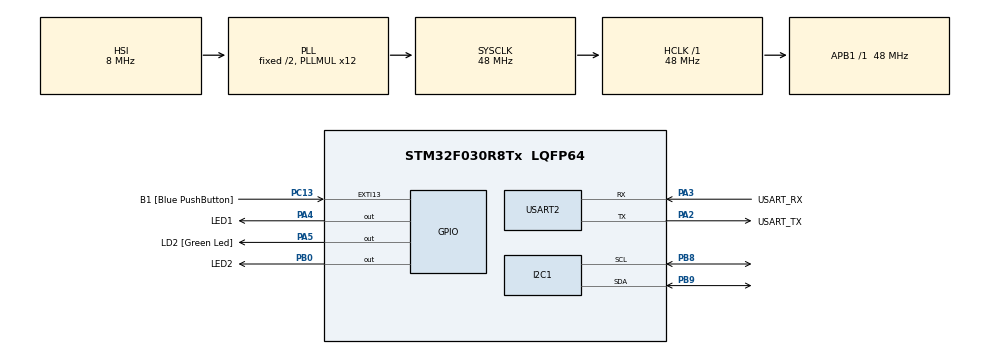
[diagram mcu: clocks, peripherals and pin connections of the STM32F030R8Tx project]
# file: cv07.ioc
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FREERTOS.Queues01=xVisualQueue,16,uint16_t,0,Dynamic,NULL,NULL
FREERTOS.Tasks01=defaultTask,0,128,StartDefaultTask,Default,NULL,Dynamic,NULL,NULL;VisualTask,0,128,StartVisualTask,Default,NULL,Dynamic,NULL,NULL;AcceleroTask,0,128,StartAcceleroTask,Default,NULL,Dynamic,NULL,NULL
FREERTOS.configUSE_NEWLIB_REENTRANT=1
Mcu.Family=STM32F0
Mcu.Name=STM32F030R8Tx
Mcu.Package=LQFP64
NVIC.TIM14_IRQn=true\:3\:0\:false\:false\:true\:false\:false\:true\:true
NVIC.TimeBase=TIM14_IRQn
NVIC.TimeBaseIP=TIM14
PA13.GPIO_Label=TMS
PA13.Mode=Serial_Wire
PA13.Signal=SYS_SWDIO
PA14.GPIO_Label=TCK
PA14.Mode=Serial_Wire
PA14.Signal=SYS_SWCLK
PA2.GPIO_Label=USART_TX
PA2.GPIO_Mode=GPIO_MODE_AF_PP
PA2.GPIO_PuPd=GPIO_NOPULL
PA2.GPIO_Speed=GPIO_SPEED_FREQ_LOW
PA2.Mode=Asynchronous
PA2.Signal=USART2_TX
PA3.GPIO_Label=USART_RX
PA3.GPIO_Mode=GPIO_MODE_AF_PP
PA3.GPIO_PuPd=GPIO_NOPULL
PA3.GPIO_Speed=GPIO_SPEED_FREQ_LOW
PA3.Mode=Asynchronous
PA3.Signal=USART2_RX
PA4.GPIO_Label=LED1
PA4.Signal=GPIO_Output
PA5.GPIO_Label=LD2 [Green Led]
PA5.GPIO_Mode=GPIO_MODE_OUTPUT_PP
PA5.GPIO_PuPd=GPIO_NOPULL
PA5.GPIO_Speed=GPIO_SPEED_FREQ_LOW
PA5.Signal=GPIO_Output
PB0.GPIO_Label=LED2
PB0.Signal=GPIO_Output
PB8.Mode=I2C
PB8.Signal=I2C1_SCL
PB9.Mode=I2C
PB9.Signal=I2C1_SDA
PC13.GPIO_Label=B1 [Blue PushButton]
PC13.GPIO_ModeDefaultEXTI=GPIO_MODE_IT_FALLING
PC13.Signal=GPXTI13
PC14-OSC32_IN.Mode=LSE-External-Oscillator
PC14-OSC32_IN.Signal=RCC_OSC32_IN
PC15-OSC32_OUT.Mode=LSE-External-Oscillator
PC15-OSC32_OUT.Signal=RCC_OSC32_OUT
PF0-OSC_IN.Mode=HSE-External-Clock-Source
PF0-OSC_IN.Signal=RCC_OSC_IN
PF1-OSC_OUT.Signal=RCC_OSC_OUT
ProjectManager.HeapSize=0x200
ProjectManager.StackSize=0x400
ProjectManager.TargetToolchain=STM32CubeIDE
RCC.AHBFreq_Value=48000000
RCC.APB1Freq_Value=48000000
RCC.APB1TimFreq_Value=48000000
RCC.HCLKFreq_Value=48000000
RCC.PLLMUL=RCC_PLL_MUL12
RCC.SYSCLKFreq_VALUE=48000000
RCC.SYSCLKSource=RCC_SYSCLKSOURCE_PLLCLK
USART2.VirtualMode-Asynchronous=VM_ASYNC
VP_FREERTOS_VS_CMSIS_V1.Mode=CMSIS_V1
VP_SYS_VS_tim14.Mode=TIM14
board=NUCLEO-F030R8

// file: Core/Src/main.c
/* USER CODE BEGIN Header */
/**
  ******************************************************************************
  * @file           : main.c
  * @brief          : Main program body
  ******************************************************************************
  * @attention
  *
  * Copyright (c) 2022 STMicroelectronics.
  * All rights reserved.
  *
  * This software is licensed under terms that can be found in the LICENSE file
  * in the root directory of this software component.
  * If no LICENSE file comes with this software, it is provided AS-IS.
  *
  ******************************************************************************
  */
/* USER CODE END Header */
#include "main.h"
#include "cmsis_os.h"

/* USER CODE BEGIN Includes */
#include "lis2dw12_reg.h"
#include <stdio.h>
/* USER CODE END Includes */

I2C_HandleTypeDef hi2c1;

UART_HandleTypeDef huart2;

osThreadId defaultTaskHandle;
osThreadId VisualTaskHandle;
osThreadId AcceleroTaskHandle;
osMessageQId xVisualQueueHandle;

void SystemClock_Config(void);
static void MX_GPIO_Init(void);
static void MX_USART2_UART_Init(void);
static void MX_I2C1_Init(void);
void StartDefaultTask(void const * argument);
void StartVisualTask(void const * argument);
void StartAcceleroTask(void const * argument);

/* USER CODE BEGIN 0 */

static int32_t platform_write(void *handle, uint8_t reg, uint8_t *bufp, uint16_t len);
static int32_t platform_read(void *handle, uint8_t reg, uint8_t *bufp, uint16_t len);
static stmdev_ctx_t lis2dw12 = {
		.write_reg = platform_write,
		.read_reg = platform_read,
		.handle = &hi2c1,
};

/*
* Replace the functions "platform_write" and "platform_read" with your
* platform specific read and write function.
*/
static int32_t platform_write(void *handle, uint8_t reg, uint8_t *bufp, uint16_t len)
{
	HAL_I2C_Mem_Write(handle, LIS2DW12_I2C_ADD_H, reg, I2C_MEMADD_SIZE_8BIT, bufp, len, 1000);
	return 0;
}

static int32_t platform_read(void *handle, uint8_t reg, uint8_t *bufp, uint16_t len)
{
	HAL_I2C_Mem_Read(handle, LIS2DW12_I2C_ADD_H, reg, I2C_MEMADD_SIZE_8BIT, bufp, len, 1000);
	return 0;
}

int _write(int file, char const *buf, int n)
{
	/* stdout redirection to UART2 */
	HAL_UART_Transmit(&huart2, (uint8_t*)(buf), n, HAL_MAX_DELAY);
	return n;
}

/* USER CODE END 0 */

int main(void)
{

  /* MCU Configuration--------------------------------------------------------*/

  /* Reset of all peripherals, Initializes the Flash interface and the Systick. */
  HAL_Init();

  /* Configure the system clock */
  SystemClock_Config();

  /* Initialize all configured peripherals */
  MX_GPIO_Init();
  MX_USART2_UART_Init();
  MX_I2C1_Init();

  /* Create the queue(s) */
  /* definition and creation of xVisualQueue */
  osMessageQDef(xVisualQueue, 16, uint16_t);
  xVisualQueueHandle = osMessageCreate(osMessageQ(xVisualQueue), NULL);

  /* Create the thread(s) */
  /* definition and creation of defaultTask */
  osThreadDef(defaultTask, StartDefaultTask, osPriorityNormal, 0, 128);
  defaultTaskHandle = osThreadCreate(osThread(defaultTask), NULL);

  /* definition and creation of VisualTask */
  osThreadDef(VisualTask, StartVisualTask, osPriorityNormal, 0, 128);
  VisualTaskHandle = osThreadCreate(osThread(VisualTask), NULL);

  /* definition and creation of AcceleroTask */
  osThreadDef(AcceleroTask, StartAcceleroTask, osPriorityNormal, 0, 128);
  AcceleroTaskHandle = osThreadCreate(osThread(AcceleroTask), NULL);

  /* Start scheduler */
  osKernelStart();

  /* We should never get here as control is now taken by the scheduler */
  /* Infinite loop */
  while (1)
  {

  }
}

void SystemClock_Config(void)
{
  RCC_OscInitTypeDef RCC_OscInitStruct = {0};
  RCC_ClkInitTypeDef RCC_ClkInitStruct = {0};
  RCC_PeriphCLKInitTypeDef PeriphClkInit = {0};

  /** Initializes the RCC Oscillators according to the specified parameters
  * in the RCC_OscInitTypeDef structure.
  */
  RCC_OscInitStruct.OscillatorType = RCC_OSCILLATORTYPE_HSI;
  RCC_OscInitStruct.HSIState = RCC_HSI_ON;
  RCC_OscInitStruct.HSICalibrationValue = RCC_HSICALIBRATION_DEFAULT;
  RCC_OscInitStruct.PLL.PLLState = RCC_PLL_ON;
  RCC_OscInitStruct.PLL.PLLSource = RCC_PLLSOURCE_HSI;
  RCC_OscInitStruct.PLL.PLLMUL = RCC_PLL_MUL12;
  RCC_OscInitStruct.PLL.PREDIV = RCC_PREDIV_DIV1;
  if (HAL_RCC_OscConfig(&RCC_OscInitStruct) != HAL_OK)
  {
    Error_Handler();
  }

  /** Initializes the CPU, AHB and APB buses clocks
  */
  RCC_ClkInitStruct.ClockType = RCC_CLOCKTYPE_HCLK|RCC_CLOCKTYPE_SYSCLK
                              |RCC_CLOCKTYPE_PCLK1;
  RCC_ClkInitStruct.SYSCLKSource = RCC_SYSCLKSOURCE_PLLCLK;
  RCC_ClkInitStruct.AHBCLKDivider = RCC_SYSCLK_DIV1;
  RCC_ClkInitStruct.APB1CLKDivider = RCC_HCLK_DIV1;

  if (HAL_RCC_ClockConfig(&RCC_ClkInitStruct, FLASH_LATENCY_1) != HAL_OK)
  {
    Error_Handler();
  }
  PeriphClkInit.PeriphClockSelection = RCC_PERIPHCLK_I2C1;
  PeriphClkInit.I2c1ClockSelection = RCC_I2C1CLKSOURCE_HSI;
  if (HAL_RCCEx_PeriphCLKConfig(&PeriphClkInit) != HAL_OK)
  {
    Error_Handler();
  }
}

static void MX_I2C1_Init(void)
{

  hi2c1.Instance = I2C1;
  hi2c1.Init.Timing = 0x2000090E;
  hi2c1.Init.OwnAddress1 = 0;
  hi2c1.Init.AddressingMode = I2C_ADDRESSINGMODE_7BIT;
  hi2c1.Init.DualAddressMode = I2C_DUALADDRESS_DISABLE;
  hi2c1.Init.OwnAddress2 = 0;
  hi2c1.Init.OwnAddress2Masks = I2C_OA2_NOMASK;
  hi2c1.Init.GeneralCallMode = I2C_GENERALCALL_DISABLE;
  hi2c1.Init.NoStretchMode = I2C_NOSTRETCH_DISABLE;
  if (HAL_I2C_Init(&hi2c1) != HAL_OK)
  {
    Error_Handler();
  }

  /** Configure Analogue filter
  */
  if (HAL_I2CEx_ConfigAnalogFilter(&hi2c1, I2C_ANALOGFILTER_ENABLE) != HAL_OK)
  {
    Error_Handler();
  }

  /** Configure Digital filter
  */
  if (HAL_I2CEx_ConfigDigitalFilter(&hi2c1, 0) != HAL_OK)
  {
    Error_Handler();
  }

}

static void MX_USART2_UART_Init(void)
{

  huart2.Instance = USART2;
  huart2.Init.BaudRate = 38400;
  huart2.Init.WordLength = UART_WORDLENGTH_8B;
  huart2.Init.StopBits = UART_STOPBITS_1;
  huart2.Init.Parity = UART_PARITY_NONE;
  huart2.Init.Mode = UART_MODE_TX_RX;
  huart2.Init.HwFlowCtl = UART_HWCONTROL_NONE;
  huart2.Init.OverSampling = UART_OVERSAMPLING_16;
  huart2.Init.OneBitSampling = UART_ONE_BIT_SAMPLE_DISABLE;
  huart2.AdvancedInit.AdvFeatureInit = UART_ADVFEATURE_NO_INIT;
  if (HAL_UART_Init(&huart2) != HAL_OK)
  {
    Error_Handler();
  }

}

static void MX_GPIO_Init(void)
{
  GPIO_InitTypeDef GPIO_InitStruct = {0};

  /* GPIO Ports Clock Enable */
  __HAL_RCC_GPIOC_CLK_ENABLE();
  __HAL_RCC_GPIOF_CLK_ENABLE();
  __HAL_RCC_GPIOA_CLK_ENABLE();
  __HAL_RCC_GPIOB_CLK_ENABLE();

  /*Configure GPIO pin Output Level */
  HAL_GPIO_WritePin(GPIOA, GPIO_PIN_4|GPIO_PIN_5, GPIO_PIN_RESET);

  /*Configure GPIO pin Output Level */
  HAL_GPIO_WritePin(GPIOB, GPIO_PIN_0, GPIO_PIN_RESET);

  /*Configure GPIO pin : PC13 */
  GPIO_InitStruct.Pin = GPIO_PIN_13;
  GPIO_InitStruct.Mode = GPIO_MODE_IT_FALLING;
  GPIO_InitStruct.Pull = GPIO_NOPULL;
  HAL_GPIO_Init(GPIOC, &GPIO_InitStruct);

  /*Configure GPIO pins : PA4 PA5 */
  GPIO_InitStruct.Pin = GPIO_PIN_4|GPIO_PIN_5;
  GPIO_InitStruct.Mode = GPIO_MODE_OUTPUT_PP;
  GPIO_InitStruct.Pull = GPIO_NOPULL;
  GPIO_InitStruct.Speed = GPIO_SPEED_FREQ_LOW;
  HAL_GPIO_Init(GPIOA, &GPIO_InitStruct);

  /*Configure GPIO pin : PB0 */
  GPIO_InitStruct.Pin = GPIO_PIN_0;
  GPIO_InitStruct.Mode = GPIO_MODE_OUTPUT_PP;
  GPIO_InitStruct.Pull = GPIO_NOPULL;
  GPIO_InitStruct.Speed = GPIO_SPEED_FREQ_LOW;
  HAL_GPIO_Init(GPIOB, &GPIO_InitStruct);

}

void StartDefaultTask(void const * argument)
{
  /* USER CODE BEGIN 5 */
  /* Infinite loop */
	for(;;) {

		/*
		int16_t msg;
		xQueueSend(xVisualQueueHandle, &msg, 0);

		msg = -5000;
		xQueueSend(xVisualQueueHandle, &msg, 0);
		osDelay(300);

		msg = 0;
		xQueueSend(xVisualQueueHandle, &msg, 0);
		osDelay(300);

		msg = 5000;
		xQueueSend(xVisualQueueHandle, &msg, 0);
		osDelay(300);

		msg = 0;
		xQueueSend(xVisualQueueHandle, &msg, 0);
		osDelay(300);
		*/

	}
  /* USER CODE END 5 */
}

void StartVisualTask(void const * argument)
{
  /* USER CODE BEGIN StartVisualTask */
  /* Infinite loop */

	int16_t msg;

	for(;;) {
		if (xQueueReceive(xVisualQueueHandle, &msg, portMAX_DELAY)) {
			if (msg < -1000) {
				HAL_GPIO_WritePin(LED1_GPIO_Port, LED1_Pin, 1);
				HAL_GPIO_WritePin(LED2_GPIO_Port, LED2_Pin, 0);
			}

			else if (msg > 1000) {
				HAL_GPIO_WritePin(LED1_GPIO_Port, LED1_Pin, 0);
				HAL_GPIO_WritePin(LED2_GPIO_Port, LED2_Pin, 1);
			}

			else {
				HAL_GPIO_WritePin(LED1_GPIO_Port, LED1_Pin, 0);
				HAL_GPIO_WritePin(LED2_GPIO_Port, LED2_Pin, 0);
			}
		}
		osDelay(1);
	}

  /* USER CODE END StartVisualTask */
}

void StartAcceleroTask(void const *argument) {

	/* USER CODE BEGIN StartAcceleroTask */
	/* Infinite loop */
	for (;;) {

		// Check device ID
		uint8_t whoamI = 0;
		lis2dw12_device_id_get(&lis2dw12, &whoamI);
		printf("LIS2DW12_ID %s\n", (whoamI == LIS2DW12_ID) ? "OK" : "FAIL");

		// Init Accelerometer
		lis2dw12_full_scale_set(&lis2dw12, LIS2DW12_2g);
		lis2dw12_power_mode_set(&lis2dw12, LIS2DW12_CONT_LOW_PWR_LOW_NOISE_2);
		lis2dw12_block_data_update_set(&lis2dw12, PROPERTY_ENABLE);
		lis2dw12_fifo_mode_set(&lis2dw12, LIS2DW12_STREAM_MODE); // enable continuous FIFO
		lis2dw12_data_rate_set(&lis2dw12, LIS2DW12_XL_ODR_25Hz); // enable part from power-down

		// Citanie FIFO pamate accelerometer
		uint8_t samples;
		int16_t raw_acceleration[3];

		for (;;) {
			lis2dw12_fifo_data_level_get(&lis2dw12, &samples);
			for (uint8_t i = 0; i < samples; i++) {
				// Read acceleration data
				lis2dw12_acceleration_raw_get(&lis2dw12, raw_acceleration);
			}
			xQueueSend(xVisualQueueHandle, &raw_acceleration[0], 0);
			osDelay(50);

			// Spracovavanie vysledku po 1 sek
			static uint8_t count = 0;
			if (count > 20) {
				count = 0;
				printf("X=%d Y=%d Z=%d\n", raw_acceleration[0], raw_acceleration[1], raw_acceleration[2]);
			}

			else {
				count++;
			}
		}

		// UART init
		uint8_t c;
		//HAL_UART_Receive(&huart2, &c, 1, HAL_MAX_DELAY);
		//HAL_UART_Transmit(&huart2, &c, 1, HAL_MAX_DELAY);

	}

}

/* USER CODE END StartAcceleroTask */

void HAL_TIM_PeriodElapsedCallback(TIM_HandleTypeDef *htim)
{
  if (htim->Instance == TIM14) {
    HAL_IncTick();
  }
}

void Error_Handler(void)
{
  __disable_irq();
  while (1)
  {
  }
}
